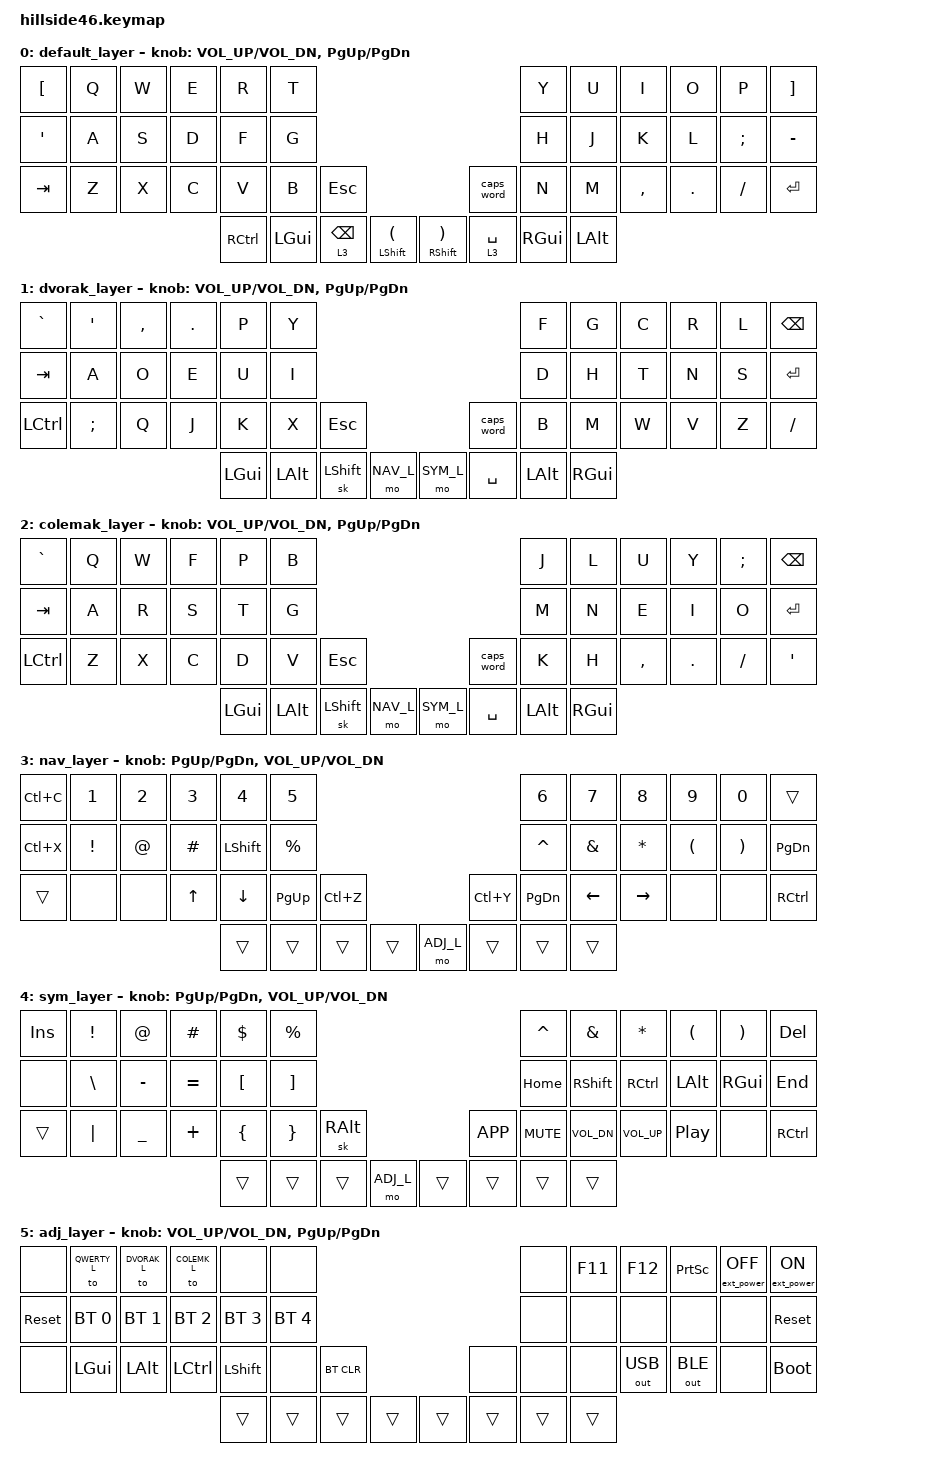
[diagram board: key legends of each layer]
/*
 * Copyright (c) 2021-2022 The ZMK Contributors
 *
 * SPDX-License-Identifier: MIT
 */

#include <behaviors.dtsi>
#include <dt-bindings/zmk/bt.h>
#include <dt-bindings/zmk/ext_power.h>
#include <dt-bindings/zmk/keys.h>
#include <dt-bindings/zmk/outputs.h>

#define QWERTY_L 0
#define DVORAK_L 1
#define COLEMK_L 2
#define NAV_L    3
#define SYM_L    4
#define ADJ_L    5
#define Undo   LC(Z)
#define Cut    LC(X)
#define Copy   LC(C)
#define Paste  LC(V)
#define Redo   LC(Y)

&mt {
    tapping-term-ms = <160>;
};

&lt {
    tapping-term-ms = <167>;
};

/ {
    keymap {
        compatible = "zmk,keymap";

        default_layer {
            /* QWERTY
 * -------------------------------------------------------------------------------------------------------------------------------------
 * | `     |   Q   |   W   |   E   |   R   |   T   |-----------------------------------|   Y   |   U   |   I   |   O   |   P   | BKSPC |
 * | TAB   |   A   |   S   |   D   |   F   |   G   |-----------------------------------|   H   |   J   |   K   |   L   |   ;   | ENTER |
 * | CTRL  |   Z   |   X   |   C   |   V   |   B   |  ESC  |-------------------|  CAPS |   N   |   M   |   ,   |   .   |   /   |   '   |
 *                                 |  GUI  |  ALT  |SK SHFT|  Nav  |---|  Sym  | SPACE |  ALT  |  GUI  |
 */

            bindings = <
&kp LBKT          &kp Q  &kp W  &kp E  &kp R      &kp T                                                                                                             &kp Y          &kp U     &kp I      &kp O    &kp P      &kp RIGHT_BRACKET
&kp SINGLE_QUOTE  &kp A  &kp S  &kp D  &kp F      &kp G                                                                                                             &kp H          &kp J     &kp K      &kp L    &kp SEMI   &kp MINUS
&kp TAB           &kp Z  &kp X  &kp C  &kp V      &kp B         &kp ESC                                                                                &caps_word   &kp N          &kp M     &kp COMMA  &kp DOT  &kp SLASH  &kp ENTER
                                       &kp RCTRL  &kp LEFT_GUI  &lt 3 BACKSPACE  &mt LEFT_SHIFT LEFT_PARENTHESIS    &mt RIGHT_SHIFT RIGHT_PARENTHESIS  &lt 3 SPACE  &kp RIGHT_GUI  &kp LALT
            >;

            sensor-bindings = <&inc_dec_kp C_VOL_UP C_VOL_DN &inc_dec_kp PG_UP PG_DN>;
        };

        dvorak_layer {
            /* DVORAK
 * -------------------------------------------------------------------------------------------------------------------------------------
 * | `     |   '   |   ,   |   .   |   P   |   Y   |-----------------------------------|   F   |   G   |   C   |   R   |   L   | BKSPC |
 * | TAB   |   A   |   O   |   E   |   U   |   I   |-----------------------------------|   D   |   H   |   T   |   N   |   S   | ENTER |
 * | CTRL  |   ;   |   Q   |   J   |   K   |   X   |  ESC  |-------------------| CAPS  |   B   |   M   |   W   |   V   |   Z   |   /   |
 *                                 |  GUI  |  ALT  |SK SHFT|  Nav  |---|  Sym  | SPACE |  ALT  |  GUI  |
 */

            bindings = <
&kp GRAVE  &kp SQT   &kp COMMA  &kp DOT  &kp P     &kp Y                                                     &kp F     &kp G     &kp C  &kp R  &kp L  &kp BSPC
&kp TAB    &kp A     &kp O      &kp E    &kp U     &kp I                                                     &kp D     &kp H     &kp T  &kp N  &kp S  &kp ENTER
&kp LCTRL  &kp SEMI  &kp Q      &kp J    &kp K     &kp X     &kp ESC                             &caps_word  &kp B     &kp M     &kp W  &kp V  &kp Z  &kp SLASH
                                         &kp LGUI  &kp LALT  &sk LSHIFT  &mo NAV_L    &mo SYM_L  &kp SPACE   &kp LALT  &kp RGUI
            >;

            sensor-bindings = <&inc_dec_kp C_VOL_UP C_VOL_DN &inc_dec_kp PG_UP PG_DN>;
        };

        colemak_layer {
            /* COLEMAK-DH
 * -------------------------------------------------------------------------------------------------------------------------------------
 * | `     |   Q   |   W   |   F   |   P   |   B   |-----------------------------------|   J   |   L   |   U   |   Y   |   ;   | BKSPC |
 * | TAB   |   A   |   R   |   S   |   T   |   G   |-----------------------------------|   M   |   N   |   E   |   I   |   O   | ENTER |
 * | CTRL  |   Z   |   X   |   C   |   D   |   V   |  ESC  |-------------------| CAPS  |   K   |   H   |   ,   |   .   |   /   |   '   |
 *                                 |  GUI  |  ALT  |SK SHFT|  Nav  |---|  Sym  | SPACE |  ALT  |  GUI  |
 */

            bindings = <
&kp GRAVE  &kp Q  &kp W  &kp F  &kp P     &kp B                                                     &kp J     &kp L     &kp U      &kp Y    &kp SEMI   &kp BSPC
&kp TAB    &kp A  &kp R  &kp S  &kp T     &kp G                                                     &kp M     &kp N     &kp E      &kp I    &kp O      &kp ENTER
&kp LCTRL  &kp Z  &kp X  &kp C  &kp D     &kp V     &kp ESC                             &caps_word  &kp K     &kp H     &kp COMMA  &kp DOT  &kp SLASH  &kp SQT
                                &kp LGUI  &kp LALT  &sk LSHIFT  &mo NAV_L    &mo SYM_L  &kp SPACE   &kp LALT  &kp RGUI
            >;

            sensor-bindings = <&inc_dec_kp C_VOL_UP C_VOL_DN &inc_dec_kp PG_UP PG_DN>;
        };

        nav_layer {
            /* NAV   
 * -------------------------------------------------------------------------------------------------------------------------------------
 * | Copy  |   1   |   2   |   3   |   4   |   5   |-----------------------------------|   6   |   7   |   8   |   9   |   0   | BSPC  |
 * | Cut   |  GUI  |  Alt  | Ctrl  | Shift | Paste |-----------------------------------| PG UP |  Left |  Up   |  Down | Right | PG DN |
 * | Ctrl  |  F1   |  F2   |  F3   |  F4   |  F5   |  UnDo |-------------------| ReDo  |  F6   |  F7   |  F8   |  F9   |  F10  | Ctrl  |
 *                                 |       |       |       |       |---| ADJ_L |       |       |       |
 */

            bindings = <
&kp Copy  &kp N1           &kp N2  &kp N3    &kp N4     &kp N5                                                &kp N6         &kp N7         &kp N8        &kp N9                &kp N0    &trans
&kp Cut   &kp EXCLAMATION  &kp AT  &kp HASH  &kp LSHFT  &kp PERCENT                                           &kp CARET      &kp AMPERSAND  &kp ASTERISK  &kp LEFT_PARENTHESIS  &kp RPAR  &kp PG_DN
&trans    &none            &none   &kp UP    &kp DOWN   &kp PAGE_UP  &kp Undo                       &kp Redo  &kp PAGE_DOWN  &kp LEFT       &kp RIGHT     &none                 &none     &kp RCTRL
                                             &trans     &trans       &trans    &trans    &mo ADJ_L  &trans    &trans         &trans
            >;

            sensor-bindings = <&inc_dec_kp PG_UP PG_DN &inc_dec_kp C_VOL_UP C_VOL_DN>;
        };

        sym_layer {
            /* SYM
 * -------------------------------------------------------------------------------------------------------------------------------------
 * | INS   |   !   |   @   |   #   |   $   |   %   |-----------------------------------|   ^   |   &   |   *   |   (   |   )   | BSPC  |
 * |       |   \   |   -   |   =   |   [   |   ]   |-----------------------------------| HOME  | Shift | Ctrl  | Alt   | Gui   | END   |
 * | Ctrl  |   |   |   _   |   +   |   {   |   }   |SkAltGr|-------------------| MENU  | Mute  | Vol-  | Vol+  | Play  |       | Ctrl  |
 *                                 |       |       |       |  ADJ_L |---|      |       |       |       |
 */

            bindings = <
&kp INS  &kp EXCL  &kp AT     &kp HASH   &kp DOLLAR  &kp PERCENT                                            &kp CARET   &kp AMPS      &kp ASTRK     &kp LPAR  &kp RPAR  &kp DEL
&none    &kp BSLH  &kp MINUS  &kp EQUAL  &kp LBKT    &kp RBKT                                               &kp HOME    &kp RSHFT     &kp RCTRL     &kp LALT  &kp RGUI  &kp END
&trans   &kp PIPE  &kp UNDER  &kp PLUS   &kp LBRC    &kp RBRC     &sk RALT                       &kp K_APP  &kp C_MUTE  &kp C_VOL_DN  &kp C_VOL_UP  &kp C_PP  &none     &kp RCTRL
                                         &trans      &trans       &trans    &mo ADJ_L    &trans  &trans     &trans      &trans
            >;

            sensor-bindings = <&inc_dec_kp PG_UP PG_DN &inc_dec_kp C_VOL_UP C_VOL_DN>;
        };

        adj_layer {
            /* ADJUST
 * -------------------------------------------------------------------------------------------------------------------------------------
 * |       | QWERTY| DVORAK| COLEMK|       |       |-----------------------------------|       |  F11  |  F12  |Prt Scr|EP_OFF | EP_ON |
 * | RESET | BT 0  | BT 1  | BT 2  | BT 3  | BT 4  |-----------------------------------|       |       |       |       |       | RESET |
 * |       | LGUI  | LALT  | LCTRL | LSHIFT|       |BT CLR |-------------------|       |       |       |OUT_USB|OUT_BLE|       | BOOTL |
 *                                 |       |       |       |       |---|       |       |       |       |
 */

            bindings = <
&none       &to QWERTY_L  &to DVORAK_L  &to COLEMK_L  &none         &none                                               &none   &kp F11  &kp F12       &kp PRINTSCREEN  &ext_power EP_OFF  &ext_power EP_ON
&sys_reset  &bt BT_SEL 0  &bt BT_SEL 1  &bt BT_SEL 2  &bt BT_SEL 3  &bt BT_SEL 4                                        &none   &none    &none         &none            &none              &sys_reset
&none       &kp LGUI      &kp LALT      &kp LCTRL     &kp LSHIFT    &none         &bt BT_CLR                    &none   &none   &none    &out OUT_USB  &out OUT_BLE     &none              &bootloader
                                                      &trans        &trans        &trans      &trans    &trans  &trans  &trans  &trans
            >;

            sensor-bindings = <&inc_dec_kp C_VOL_UP C_VOL_DN &inc_dec_kp PG_UP PG_DN>;
        };
    };
};
